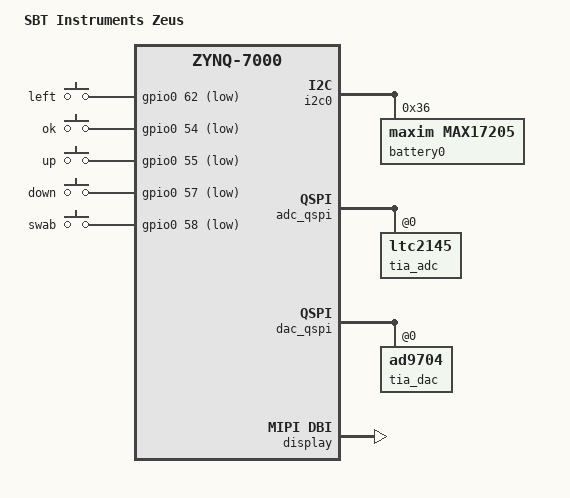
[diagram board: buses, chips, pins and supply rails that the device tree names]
/* SPDX-License-Identifier: GPL-2.0-or-later */
/*
 *	Copyright (C) 2019 Frederik Peter Aalund <fpa@sbtinstruments.com>
 */
/dts-v1/;
#include <dt-bindings/input/linux-event-codes.h>
#include "zynq-green-mango.dtsi"

/ {
	model = "SBT Instruments Zeus";
	compatible = "sbt,green-mango-zeus",
	             "sbt,green-mango",
	             "xlnx,zynq-7000";
};

&i2c0 {
	battery0: max17205@36 {
		compatible = "maxim,max17205";
		reg = <0x36>;
	};
};

&amba {
	adc_qspi: axi_quad_spi@41e10000 {
		tia_adc: ltc2145@0 {
			clock-phase-delay = <45>;
			invert-clock;
			output-mode = "ddr-lvds";
			// internal-termination;
			// test-pattern = "alternating";
			// power-control = "channel2-nap";
			// alternate-bit-polarity;
		};
	};

	dac_qspi: axi_quad_spi@41e00000 {
		tia_dac: ad9704@0 {
			diff-clock-input;
		};
	};

	display: mipi-dbi-type-b@43C10000 {
		compatible = "urt,p220md-t";
		reg = <0x43C10000 0x10000>;
		reg-names = "mipi-dbi-type-b";
		// Backlight has been removed from this node since the display turns
		// it off during init. We want the splash screen to linger.
		// backlight = <&backlight>;
		// Init is done by u-boot. Additionally, this allows the splash screen
		// to linger until the UI is loaded.
		linux,skip-reset;
		linux,skip-clear;
	};

	gpio-keys {
		compatible = "gpio-keys";
		autorepeat;

		left {
			label = "left";
			gpios = <&gpio0 62 GPIO_ACTIVE_LOW>;
			linux,code = <KEY_BACKSPACE>;
		};
		ok {
			label = "ok";
			gpios = <&gpio0 54 GPIO_ACTIVE_LOW>;
			linux,code = <KEY_ENTER>;
		};
		up {
			label = "up";
			gpios = <&gpio0 55 GPIO_ACTIVE_LOW>;
			linux,code = <KEY_UP>;
		};
		down {
			label = "down";
			gpios = <&gpio0 57 GPIO_ACTIVE_LOW>;
			linux,code = <KEY_DOWN>;
		};
		swab1 {
			label = "swab";
			gpios = <&gpio0 58 GPIO_ACTIVE_LOW>;
			linux,code = <0x0f>;  // SW_PEN_INSERTED
			linux,input-type = <EV_SW>;
		};
	};
};
